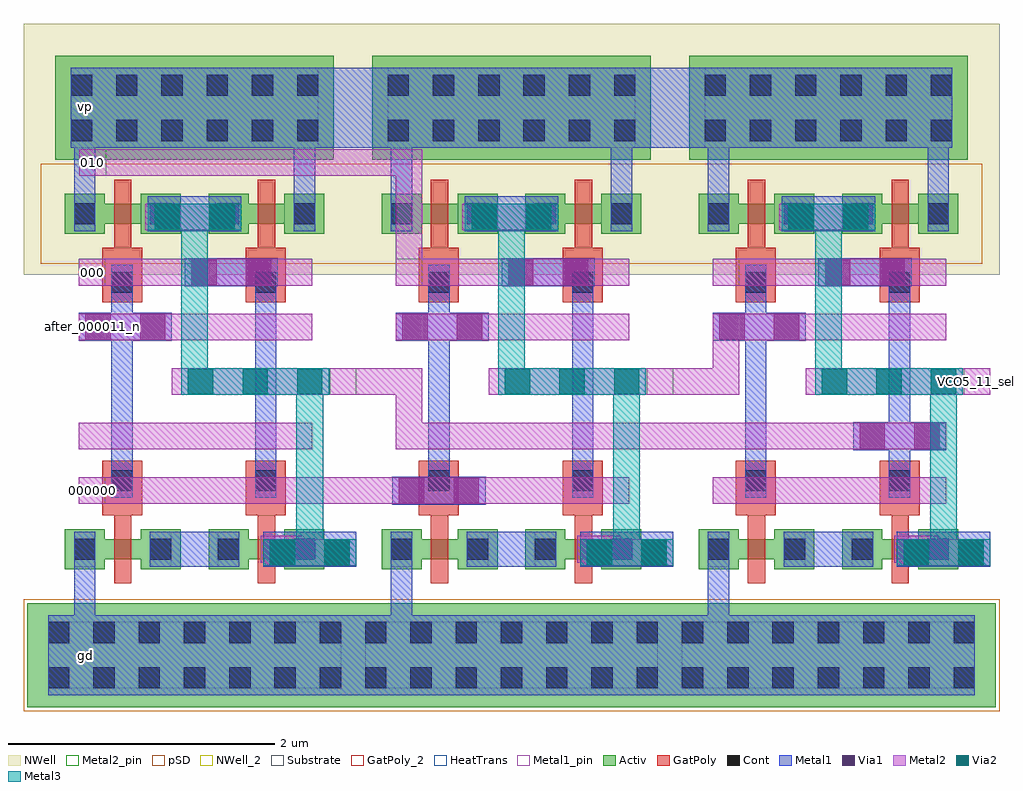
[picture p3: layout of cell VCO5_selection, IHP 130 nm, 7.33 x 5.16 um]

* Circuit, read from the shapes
.subckt VCO5_selection 000 000000 010 VCO5_11_sel after_000011_n gd vp
XM1 n1 after_000011_n gd gd sg13_lv_nmos w=0.15u l=0.13u
XM2 NAND_2in_2/a 000 n1 gd sg13_lv_nmos w=0.15u l=0.13u
XM3 n2 000000 gd gd sg13_lv_nmos w=0.15u l=0.13u
XM4 NAND_2in_2/b 010 n2 gd sg13_lv_nmos w=0.15u l=0.13u
XM5 n3 NAND_2in_2/b gd gd sg13_lv_nmos w=0.15u l=0.13u
XM6 VCO5_11_sel NAND_2in_2/a n3 gd sg13_lv_nmos w=0.15u l=0.13u
XM7 NAND_2in_2/a after_000011_n vp vp sg13_lv_pmos w=0.15u l=0.13u
XM8 vp 000 NAND_2in_2/a vp sg13_lv_pmos w=0.15u l=0.13u
XM9 NAND_2in_2/b 000000 vp vp sg13_lv_pmos w=0.15u l=0.13u
XM10 vp 010 NAND_2in_2/b vp sg13_lv_pmos w=0.15u l=0.13u
XM11 VCO5_11_sel NAND_2in_2/b vp vp sg13_lv_pmos w=0.15u l=0.13u
XM12 vp NAND_2in_2/a VCO5_11_sel vp sg13_lv_pmos w=0.15u l=0.13u
.ends

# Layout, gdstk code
from math import pi, radians
import gdstk
lib = gdstk.Library(unit=1e-6, precision=1e-09)
def R(c, l, rs):  # rectangles x0, y0, x1, y1
    for r in rs: c.add(gdstk.rectangle(r[:2], r[2:], *l))
def A(c, l, x, y, w, h, nx, ny, dx, dy):  # array of equal rectangles
    R(c, l, [(x+i*dx, y+j*dy, x+i*dx+w, y+j*dy+h) for i in range(nx) for j in range(ny)])
Activ = (1, 0)
GatPoly = (5, 0)
GatPoly_2 = (5, 2)
Cont = (6, 0)
Metal1 = (8, 0)
Metal1_pin = (8, 2)
Metal2 = (10, 0)
Metal2_pin = (10, 2)
pSD = (14, 0)
Via1 = (19, 0)
Via2 = (29, 0)
Metal3 = (30, 0)
NWell = (31, 0)
NWell_2 = (31, 2)
Substrate = (40, 0)
HeatTrans = (51, 0)

via_4_5 = lib.new_cell('Via$4$5')
R(via_4_5, Metal2, [(-0.1,-0.35,0.1,0.35)])
R(via_4_5, Via2, [(-0.095,-0.3,0.095,-0.11), (-0.095,0.11,0.095,0.3)])
R(via_4_5, Metal3, [(-0.1,-0.35,0.1,0.35)])

via_2_5 = lib.new_cell('Via$2$5')
R(via_2_5, Metal1, [(-0.105,-0.35,0.105,0.35)])
R(via_2_5, Metal2, [(-0.1,-0.35,0.1,0.35)])
R(via_2_5, Via1, [(-0.095,-0.3,0.095,-0.11), (-0.095,0.11,0.095,0.3)])

ntap1_5 = lib.new_cell('ntap1$5')
R(ntap1_5, Activ, [(0,0,2.09,0.78)])
A(ntap1_5, Cont, 0.115, 0.14, 0.16, 0.16, 6, 2, 0.34, 0.34)
R(ntap1_5, Metal1, [(0.115,0.09,1.975,0.69)])
R(ntap1_5, Metal1_pin, [(0.115,0.09,1.975,0.69), (0.115,0.14,1.975,0.64)])
R(ntap1_5, NWell, [(-0.24,-0.24,2.33,1.02), (0,0,2.09,0.78)])
R(ntap1_5, NWell_2, [(0,0,2.09,0.78)])
ntap1_5.add(gdstk.Label('well', (1.045,0.01), layer=63, texttype=0))
ntap1_5.add(gdstk.Label('well', (1.045,0.01), layer=31, texttype=0))

ptap1_5 = lib.new_cell('ptap1$5')
R(ptap1_5, Activ, [(0,0,2.51,0.78)])
A(ptap1_5, Cont, 0.155, 0.14, 0.16, 0.16, 7, 2, 0.34, 0.34)
R(ptap1_5, Metal1, [(0.155,0.09,2.355,0.69), (0.155,0.14,2.355,0.64)])
R(ptap1_5, Metal1_pin, [(0.155,0.14,2.355,0.64)])
R(ptap1_5, pSD, [(-0.03,-0.03,2.54,0.81)])
R(ptap1_5, Substrate, [(0,0,2.51,0.78)])
ptap1_5.add(gdstk.Label('sub!', (1.255,0.01), layer=63, texttype=0))
ptap1_5.add(gdstk.Label('sub!', (1.255,0.01), layer=40, texttype=0))

nmos_5 = lib.new_cell('nmos$5')
R(nmos_5, Activ, [(0,0,0.3,0.3), (0.57,0,0.87,0.3), (0,0.075,0.87,0.225)])
R(nmos_5, GatPoly, [(0.37,-0.105,0.5,0.405)])
R(nmos_5, GatPoly_2, [(0.37,-0.105,0.5,0.405)])
R(nmos_5, Cont, [(0.07,0.07,0.23,0.23), (0.64,0.07,0.8,0.23)])
R(nmos_5, Metal1, [(0.07,0.02,0.23,0.28), (0.64,0.02,0.8,0.28)])
R(nmos_5, Metal1_pin, [(0.07,0.02,0.23,0.28), (0.64,0.02,0.8,0.28)])
R(nmos_5, HeatTrans, [(0.37,-0.105,0.5,0.405)])
nmos_5.add(gdstk.Label('nmos', (0.435,0.15), layer=63, texttype=0))
nmos_5.add(gdstk.Label('nmos', (0.435,0.15), layer=51, texttype=0))

pmos_5 = lib.new_cell('pmos$5')
R(pmos_5, Activ, [(0,0,0.3,0.3), (0.57,0,0.87,0.3), (0,0.075,0.87,0.225)])
R(pmos_5, GatPoly, [(0.37,-0.105,0.5,0.405), (0.37,-0.105,0.5,0.405)])
R(pmos_5, Cont, [(0.07,0.07,0.23,0.23), (0.64,0.07,0.8,0.23)])
R(pmos_5, Metal1, [(0.07,0.02,0.23,0.28), (0.07,0.02,0.23,0.28), (0.64,0.02,0.8,0.28), (0.64,0.02,0.8,0.28)])
R(pmos_5, pSD, [(-0.18,-0.225,1.05,0.525)])
R(pmos_5, NWell, [(-0.31,-0.31,1.18,0.61)])
R(pmos_5, Substrate, [(0.57,0,0.87,0.3)])
R(pmos_5, HeatTrans, [(0.37,-0.105,0.5,0.405)])
pmos_5.add(gdstk.Label('pmos', (0.435,0.15), layer=63, texttype=0))
pmos_5.add(gdstk.Label('pmos', (0.435,0.15), layer=51, texttype=0))

via_23 = lib.new_cell('Via$23')
R(via_23, GatPoly, [(-0.15,-0.15,0.15,0.15)])
R(via_23, Cont, [(-0.08,-0.08,0.08,0.08)])
R(via_23, Metal1, [(-0.13,-0.08,0.13,0.08)])

via_7_1 = lib.new_cell('Via$7$1')
R(via_7_1, Metal2, [(-0.555,-0.1,0.555,0.1)])
A(via_7_1, Via2, -0.505, -0.095, 0.19, 0.19, 3, 1, 0.41, 0)
R(via_7_1, Metal3, [(-0.555,-0.1,0.555,0.1)])

via_6_1 = lib.new_cell('Via$6$1')
R(via_6_1, Metal1, [(-0.35,-0.105,0.35,0.105)])
R(via_6_1, Metal2, [(-0.35,-0.1,0.35,0.1)])
R(via_6_1, Via1, [(-0.3,-0.095,-0.11,0.095), (0.11,-0.095,0.3,0.095)])

nand_2in = lib.new_cell('NAND_2in')
R(nand_2in, GatPoly, [(9.375,7.165,9.675,7.275), (10.455,7.165,10.755,7.275), (9.375,9.065,9.675,9.175), (10.455,9.065,10.755,9.175)])
R(nand_2in, Metal1, [(9.735,6.78,10.405,7.04), (10.585,6.78,11.285,7.04), (9.72,9.3,10.42,9.56)])
R(nand_2in, Metal1_pin, [(9.16,6.015,9.36,6.215), (9.325,10.12,9.525,10.32)])
R(nand_2in, Metal2_pin, [(11.085,8.07,11.285,8.27), (9.2,8.48,9.4,8.68), (9.2,8.89,9.4,9.09)])
nand_2in.add(gdstk.FlexPath([(9.9,8.17),(11.285,8.17)], 0.2, ends="flush", simple_path=True, layer=10, datatype=0))  # Metal2
nand_2in.add(gdstk.FlexPath([(10.895,6.91),(10.565,6.91)], 0.2, ends="flush", simple_path=True, layer=10, datatype=0))  # Metal2
nand_2in.add(gdstk.FlexPath([(9.865,9.405),(9.7,9.405)], 0.2, ends="flush", simple_path=True, layer=10, datatype=0))  # Metal2
nand_2in.add(gdstk.FlexPath([(10.43,8.58),(10.43,8.58)], 0.2, ends="flush", simple_path=True, layer=10, datatype=0))  # Metal2
nand_2in.add(gdstk.FlexPath([(9.2,8.99),(10.955,8.99)], 0.2, ends="flush", simple_path=True, layer=10, datatype=0))  # Metal2
nand_2in.add(gdstk.FlexPath([(9.2,8.58),(10.955,8.58)], 0.2, ends="flush", simple_path=True, layer=10, datatype=0))  # Metal2
nand_2in.add(gdstk.FlexPath([(9.2,7.76),(10.955,7.76)], 0.2, ends="flush", simple_path=True, layer=10, datatype=0))  # Metal2
nand_2in.add(gdstk.FlexPath([(9.2,7.35),(10.955,7.35)], 0.2, ends="flush", simple_path=True, layer=10, datatype=0))  # Metal2
nand_2in.add(gdstk.FlexPath([(10.07,9.305),(10.07,8.07)], 0.2, ends="flush", simple_path=True, layer=30, datatype=0))  # Metal3
nand_2in.add(gdstk.FlexPath([(10.935,6.885),(10.935,8.07)], 0.2, ends="flush", simple_path=True, layer=30, datatype=0))  # Metal3
nand_2in.add(gdstk.FlexPath([(9.245,9.56),(9.245,10.525)], 0.16, ends="flush", simple_path=True, layer=8, datatype=0))  # Metal1
nand_2in.add(gdstk.FlexPath([(10.895,9.56),(10.895,10.525)], 0.16, ends="flush", simple_path=True, layer=8, datatype=0))  # Metal1
nand_2in.add(gdstk.FlexPath([(9.245,6.78),(9.245,6.415)], 0.16, ends="flush", simple_path=True, layer=8, datatype=0))  # Metal1
nand_2in.add(gdstk.FlexPath([(9.525,7.555),(9.525,8.785)], 0.16, ends="flush", simple_path=True, layer=8, datatype=0))  # Metal1
nand_2in.add(gdstk.FlexPath([(10.605,7.555),(10.605,8.785)], 0.16, ends="flush", simple_path=True, layer=8, datatype=0))  # Metal1
nand_2in.add(gdstk.Reference(via_4_5, (10.935,6.885), rotation=3*pi/2))
nand_2in.add(gdstk.Reference(via_2_5, (10.935,6.885), rotation=3*pi/2))
nand_2in.add(gdstk.Reference(ntap1_5, (9.025,9.835)))
nand_2in.add(gdstk.Reference(ptap1_5, (8.815,5.725)))
nand_2in.add(gdstk.Reference(nmos_5, (10.175,6.76)))
nand_2in.add(gdstk.Reference(pmos_5, (10.175,9.28)))
nand_2in.add(gdstk.Reference(nmos_5, (9.095,6.76)))
nand_2in.add(gdstk.Reference(pmos_5, (9.095,9.28)))
nand_2in.add(gdstk.Reference(via_23, (9.525,8.915), rotation=pi/2))
nand_2in.add(gdstk.Reference(via_23, (10.605,8.915), rotation=pi/2))
nand_2in.add(gdstk.Reference(via_23, (10.605,7.425), rotation=3*pi/2))
nand_2in.add(gdstk.Reference(via_23, (9.525,7.425), rotation=3*pi/2))
nand_2in.add(gdstk.Reference(via_2_5, (9.55,8.58), rotation=3*pi/2))
nand_2in.add(gdstk.Reference(via_7_1, (10.525,8.17)))
nand_2in.add(gdstk.Reference(via_2_5, (10.07,9.405), rotation=3*pi/2))
nand_2in.add(gdstk.Reference(via_4_5, (10.07,9.405), rotation=3*pi/2))
nand_2in.add(gdstk.Reference(via_6_1, (10.345,8.99)))
nand_2in.add(gdstk.Label('y', (11.185,8.17), layer=10, texttype=25))
nand_2in.add(gdstk.Label('b', (9.315,8.575), layer=10, texttype=25))
nand_2in.add(gdstk.Label('a', (9.3,8.99), layer=10, texttype=25))
nand_2in.add(gdstk.Label('VP', (9.295,10.22), layer=8, texttype=25))
nand_2in.add(gdstk.Label('GND', (9.26,6.115), layer=8, texttype=25))

via_9_3 = lib.new_cell('Via$9$3')
R(via_9_3, Metal1, [(-0.35,-0.105,0.35,0.105)])
R(via_9_3, Metal2, [(-0.35,-0.1,0.35,0.1)])
R(via_9_3, Via1, [(-0.3,-0.095,-0.11,0.095), (0.11,-0.095,0.3,0.095)])

via_10_1 = lib.new_cell('Via$10$1')
R(via_10_1, Metal1, [(-0.35,-0.105,0.35,0.105)])
R(via_10_1, Metal2, [(-0.35,-0.1,0.35,0.1)])
R(via_10_1, Via1, [(-0.3,-0.095,-0.11,0.095), (0.11,-0.095,0.3,0.095)])

vco5_selection = lib.new_cell('VCO5_selection')
R(vco5_selection, Metal1, [(20.74,17.585,27.7,18.185), (20.91,21.695,27.53,22.295)])
R(vco5_selection, Metal1_pin, [(20.92,17.785,21.12,17.985), (20.92,21.905,21.12,22.105)])
R(vco5_selection, Metal2_pin, [(20.97,19.02,21.17,19.22), (27.615,19.84,27.815,20.04), (20.97,20.25,21.17,20.45), (20.97,20.66,21.17,20.86), (20.975,21.485,21.175,21.685)])
R(vco5_selection, pSD, [(20.75,20.825,25.685,21.575)])
vco5_selection.add(gdstk.FlexPath([(23.45,20.76),(23.45,21.585),(21.75,21.585)], 0.2, ends="flush", simple_path=True, layer=10, datatype=0))  # Metal2
vco5_selection.add(gdstk.FlexPath([(21.75,21.585),(20.975,21.585)], 0.2, ends="flush", simple_path=True, layer=10, datatype=0))  # Metal2
vco5_selection.add(gdstk.FlexPath([(22.56,19.12),(23.43,19.12)], 0.2, ends="flush", simple_path=True, layer=10, datatype=0))  # Metal2
vco5_selection.add(gdstk.FlexPath([(22.955,19.94),(23.45,19.94),(23.45,19.43)], 0.2, ends="flush", simple_path=True, layer=10, datatype=0))  # Metal2
vco5_selection.add(gdstk.FlexPath([(25.335,19.94),(25.83,19.94),(25.83,20.45)], 0.2, ends="flush", simple_path=True, layer=10, datatype=0))  # Metal2
vco5_selection.add(gdstk.FlexPath([(24.915,19.53),(27.135,19.53)], 0.2, ends="flush", simple_path=True, layer=10, datatype=0))  # Metal2
vco5_selection.add(gdstk.FlexPath([(23.675,19.12),(23.675,19.12)], 0.2, ends="flush", simple_path=True, layer=10, datatype=0))  # Metal2
vco5_selection.add(gdstk.Reference(nand_2in, (11.77,11.77)))
vco5_selection.add(gdstk.Reference(nand_2in, (14.15,11.77)))
vco5_selection.add(gdstk.Reference(nand_2in, (16.53,11.77)))
vco5_selection.add(gdstk.Reference(via_9_3, (27.135,19.53)))
vco5_selection.add(gdstk.Reference(via_10_1, (23.675,19.12)))
vco5_selection.add(gdstk.Label('000', (21.07,20.76), layer=10, texttype=25))
vco5_selection.add(gdstk.Label('after_000011_n', (21.07,20.35), layer=10, texttype=25))
vco5_selection.add(gdstk.Label('000000', (21.07,19.12), layer=10, texttype=25))
vco5_selection.add(gdstk.Label('010', (21.075,21.585), layer=10, texttype=25))
vco5_selection.add(gdstk.Label('VCO5_11_sel', (27.715,19.94), layer=10, texttype=25))
vco5_selection.add(gdstk.Label('vp', (21.02,22.005), layer=8, texttype=25))
vco5_selection.add(gdstk.Label('gd', (21.02,17.885), layer=8, texttype=25))

lib.write_gds('VCO5_selection.gds')
